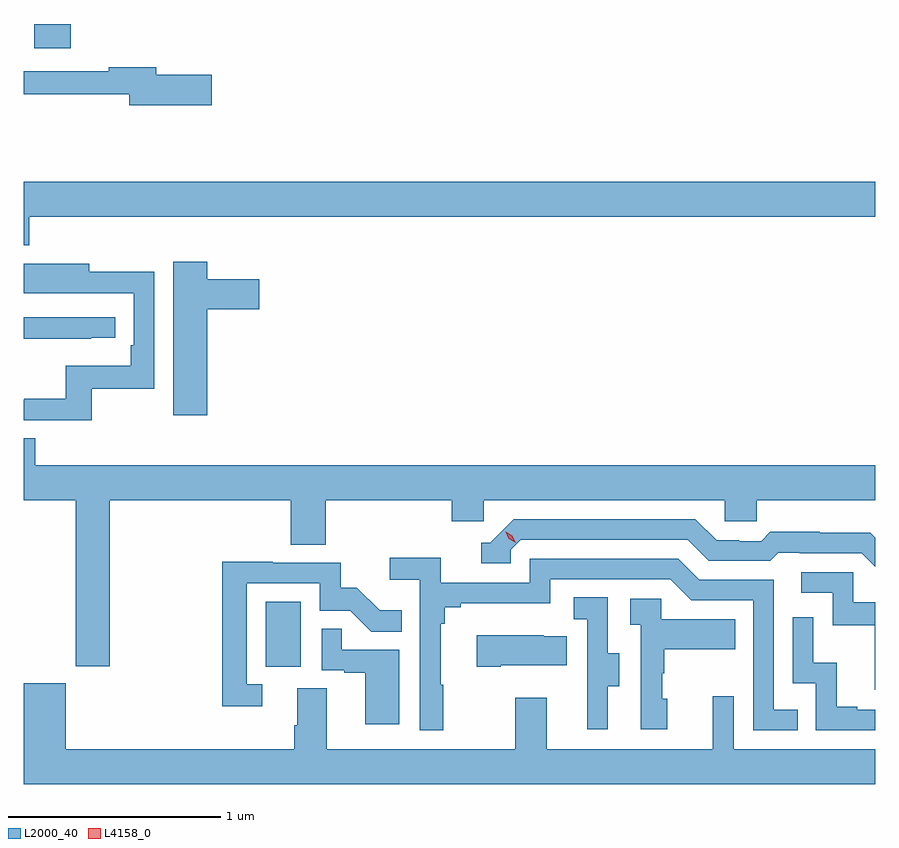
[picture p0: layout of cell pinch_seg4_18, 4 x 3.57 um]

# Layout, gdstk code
import gdstk
lib = gdstk.Library(unit=1e-6, precision=1e-09)
def R(c, l, rs):  # rectangles x0, y0, x1, y1
    for r in rs: c.add(gdstk.rectangle(r[:2], r[2:], *l))
def P(c, l, *ps):  # polygons
    for p in ps: c.add(gdstk.Polygon(p, *l))
L2000_40 = (2000, 40)
L4158_0 = (4158, 0)

pinch_seg4_18 = lib.new_cell('pinch_seg4_18')
R(pinch_seg4_18, L2000_40, [(1090.394,822.678,1090.558,822.985), (1089.308,825.582,1089.479,825.697)])
P(pinch_seg4_18, L2000_40, [(1090.141,825.458),(1089.88,825.458),(1089.88,825.494),(1089.656,825.494),(1089.656,825.474),(1089.257,825.474),(1089.257,825.366),(1089.752,825.366),(1089.752,825.316),(1090.141,825.316)],
  [(1089.284,824.792),(1093.257,824.792),(1093.257,824.956),(1089.257,824.956),(1089.257,824.657),(1089.284,824.657)],
  [(1090.12,824.357),(1090.363,824.357),(1090.363,824.499),(1090.12,824.499),(1090.12,824.581),(1089.959,824.581),(1089.959,823.86),(1090.12,823.86)],
  [(1089.577,823.983),(1089.87,823.983),(1089.87,824.534),(1089.565,824.534),(1089.565,824.572),(1089.257,824.572),(1089.257,824.432),(1089.461,824.432),(1089.461,824.433),(1089.774,824.433),(1089.774,824.188),(1089.761,824.188),(1089.761,824.092),(1089.456,824.092),(1089.456,823.937),(1089.259,823.937),(1089.259,823.932),(1089.257,823.932),(1089.257,823.836),(1089.577,823.836)],
  [(1089.575,824.223),(1089.688,824.223),(1089.688,824.319),(1089.257,824.319),(1089.257,824.218),(1089.575,824.218)],
  [(1089.662,823.46),(1090.511,823.46),(1090.511,823.252),(1090.676,823.252),(1090.676,823.46),(1091.267,823.46),(1091.267,823.362),(1091.418,823.362),(1091.418,823.46),(1092.549,823.46),(1092.549,823.362),(1092.699,823.362),(1092.699,823.46),(1093.257,823.46),(1093.257,823.624),(1089.311,823.624),(1089.311,823.751),(1089.257,823.751),(1089.257,823.46),(1089.502,823.46),(1089.502,822.681),(1089.662,822.681)],
  [(1093.257,823.284),(1093.232,823.309),(1092.996,823.309),(1092.996,823.312),(1092.763,823.312),(1092.721,823.269),(1092.618,823.269),(1092.618,823.272),(1092.511,823.272),(1092.412,823.371),(1091.559,823.371),(1091.448,823.26),(1091.405,823.26),(1091.405,823.164),(1091.544,823.164),(1091.544,823.227),(1091.592,823.275),(1092.375,823.275),(1092.474,823.176),(1092.763,823.176),(1092.802,823.215),(1092.901,823.215),(1092.901,823.212),(1093.194,823.212),(1093.257,823.149)],
  [(1091.227,822.593),(1091.215,822.593),(1091.215,822.881),(1091.234,822.881),(1091.234,822.958),(1091.311,822.958),(1091.311,822.977),(1091.73,822.977),(1091.73,823.089),(1092.294,823.089),(1092.393,822.99),(1092.684,822.99),(1092.684,822.381),(1092.893,822.381),(1092.893,822.477),(1092.78,822.477),(1092.78,823.086),(1092.43,823.086),(1092.331,823.185),(1091.634,823.185),(1091.634,823.074),(1091.216,823.074),(1091.216,823.19),(1090.977,823.19),(1090.977,823.088),(1091.118,823.088),(1091.118,822.381),(1091.227,822.381)],
  [(1090.378,822.597),(1090.305,822.597),(1090.305,823.071),(1090.647,823.071),(1090.647,822.942),(1090.791,822.942),(1090.889,822.844),(1091.033,822.844),(1091.033,822.943),(1090.929,822.943),(1090.822,823.05),(1090.746,823.05),(1090.746,823.167),(1090.427,823.167),(1090.427,823.172),(1090.189,823.172),(1090.189,822.492),(1090.378,822.492)],
  [(1093.257,822.981),(1093.152,822.981),(1093.152,823.122),(1092.909,823.122),(1092.909,823.026),(1093.056,823.026),(1093.056,822.873),(1093.255,822.873),(1093.255,822.57),(1093.257,822.57)],
  [(1092.001,822.586),(1092.055,822.586),(1092.055,822.741),(1092,822.741),(1092,823.004),(1091.841,823.004),(1091.841,822.901),(1091.904,822.901),(1091.904,822.597),(1091.903,822.597),(1091.903,822.384),(1092.001,822.384)],
  [(1092.28,822.528),(1092.255,822.528),(1092.255,822.647),(1092.265,822.647),(1092.265,822.761),(1092.599,822.761),(1092.599,822.901),(1092.252,822.901),(1092.252,822.999),(1092.105,822.999),(1092.105,822.875),(1092.156,822.875),(1092.156,822.384),(1092.28,822.384)],
  [(1093.257,822.477),(1093.171,822.477),(1093.171,822.49),(1093.076,822.49),(1093.076,822.698),(1092.966,822.698),(1092.966,822.91),(1092.87,822.91),(1092.87,822.6),(1092.978,822.6),(1092.978,822.381),(1093.257,822.381)],
  [(1091.02,822.759),(1090.751,822.759),(1090.751,822.857),(1090.656,822.857),(1090.656,822.663),(1090.763,822.663),(1090.763,822.651),(1090.862,822.651),(1090.862,822.408),(1091.02,822.408)],
  [(1091.497,822.686),(1091.807,822.686),(1091.807,822.823),(1091.699,822.823),(1091.699,822.826),(1091.385,822.826),(1091.385,822.679),(1091.497,822.679)],
  [(1093.257,822.292),(1092.591,822.292),(1092.591,822.541),(1092.494,822.541),(1092.494,822.292),(1091.713,822.292),(1091.713,822.532),(1091.566,822.532),(1091.566,822.292),(1090.681,822.292),(1090.681,822.578),(1090.541,822.578),(1090.541,822.404),(1090.529,822.404),(1090.529,822.292),(1089.454,822.292),(1089.454,822.601),(1089.257,822.601),(1089.257,822.128),(1093.257,822.128)])
P(pinch_seg4_18, L4158_0, [(1091.567,823.26),(1091.536,823.28),(1091.52,823.313),(1091.52,823.313),(1091.521,823.313),(1091.551,823.293),(1091.567,823.26),(1091.567,823.26)])

lib.write_gds('pinch_seg4_18.gds')
